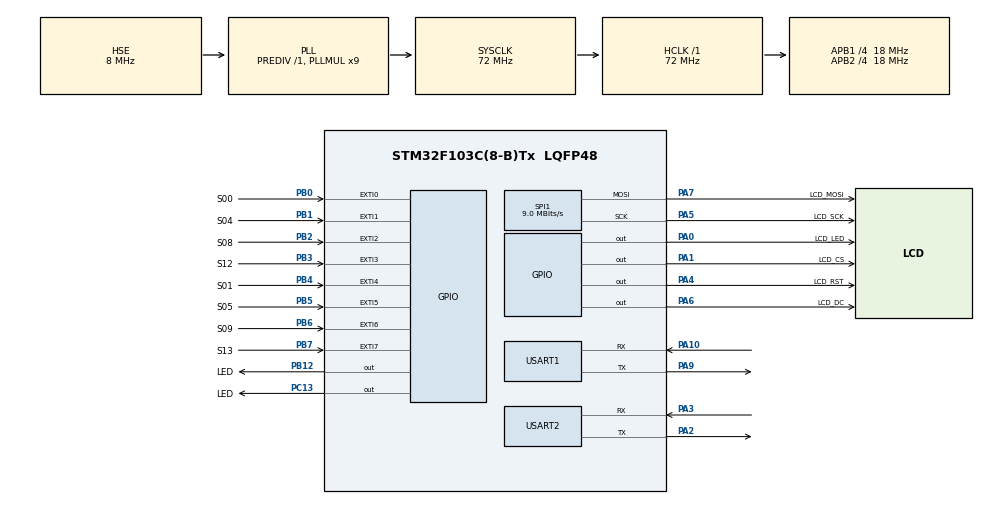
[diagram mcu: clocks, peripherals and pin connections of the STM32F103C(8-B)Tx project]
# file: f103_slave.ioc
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Dma.Request0=USART1_RX
Dma.Request1=USART2_RX
Dma.USART1_RX.0.Direction=DMA_PERIPH_TO_MEMORY
Dma.USART1_RX.0.Instance=DMA1_Channel5
Dma.USART1_RX.0.MemDataAlignment=DMA_MDATAALIGN_BYTE
Dma.USART1_RX.0.MemInc=DMA_MINC_ENABLE
Dma.USART1_RX.0.Mode=DMA_CIRCULAR
Dma.USART1_RX.0.PeriphDataAlignment=DMA_PDATAALIGN_BYTE
Dma.USART1_RX.0.PeriphInc=DMA_PINC_DISABLE
Dma.USART1_RX.0.Priority=DMA_PRIORITY_LOW
Dma.USART2_RX.1.Direction=DMA_PERIPH_TO_MEMORY
Dma.USART2_RX.1.Instance=DMA1_Channel6
Dma.USART2_RX.1.MemDataAlignment=DMA_MDATAALIGN_BYTE
Dma.USART2_RX.1.MemInc=DMA_MINC_ENABLE
Dma.USART2_RX.1.Mode=DMA_NORMAL
Dma.USART2_RX.1.PeriphDataAlignment=DMA_PDATAALIGN_BYTE
Dma.USART2_RX.1.PeriphInc=DMA_PINC_DISABLE
Dma.USART2_RX.1.Priority=DMA_PRIORITY_LOW
Mcu.Family=STM32F1
Mcu.Name=STM32F103C(8-B)Tx
Mcu.Package=LQFP48
NVIC.DMA1_Channel5_IRQn=true\:0\:0\:false\:false\:true\:false\:true\:true
NVIC.DMA1_Channel6_IRQn=true\:0\:0\:false\:false\:true\:false\:true\:true
NVIC.EXTI0_IRQn=true\:0\:0\:false\:false\:true\:true\:true\:true
NVIC.EXTI1_IRQn=true\:0\:0\:false\:false\:true\:true\:true\:true
NVIC.EXTI2_IRQn=true\:0\:0\:false\:false\:true\:true\:true\:true
NVIC.EXTI3_IRQn=true\:0\:0\:false\:false\:true\:true\:true\:true
NVIC.EXTI4_IRQn=true\:0\:0\:false\:false\:true\:true\:true\:true
NVIC.EXTI9_5_IRQn=true\:0\:0\:false\:false\:true\:true\:true\:true
NVIC.PriorityGroup=NVIC_PRIORITYGROUP_4
NVIC.TIM1_BRK_IRQn=true\:1\:0\:true\:false\:true\:true\:true\:true
NVIC.TIM1_UP_IRQn=true\:1\:0\:true\:false\:true\:true\:true\:true
NVIC.USART1_IRQn=true\:1\:0\:true\:false\:true\:true\:true\:true
NVIC.USART2_IRQn=true\:1\:0\:true\:false\:true\:true\:true\:true
PA0-WKUP.GPIO_Label=LCD_LED
PA0-WKUP.Signal=GPIO_Output
PA1.GPIO_Label=LCD_CS
PA1.Signal=GPIO_Output
PA10.Mode=Asynchronous
PA10.Signal=USART1_RX
PA13.Mode=Serial_Wire
PA13.Signal=SYS_JTMS-SWDIO
PA14.Mode=Serial_Wire
PA14.Signal=SYS_JTCK-SWCLK
PA2.Mode=Asynchronous
PA2.Signal=USART2_TX
PA3.Mode=Asynchronous
PA3.Signal=USART2_RX
PA4.GPIO_Label=LCD_RST
PA4.Signal=GPIO_Output
PA5.GPIO_Label=LCD_SCK
PA5.Mode=TX_Only_Simplex_Unidirect_Master
PA5.Signal=SPI1_SCK
PA6.GPIO_Label=LCD_DC
PA6.Signal=GPIO_Output
PA7.GPIO_Label=LCD_MOSI
PA7.Mode=TX_Only_Simplex_Unidirect_Master
PA7.Signal=SPI1_MOSI
PA9.Mode=Asynchronous
PA9.Signal=USART1_TX
PB0.GPIO_Label=S00
PB0.Signal=GPXTI0
PB1.GPIO_Label=S04
PB1.Signal=GPXTI1
PB12.GPIO_Label=LED
PB12.Signal=GPIO_Output
PB2.GPIO_Label=S08
PB2.Signal=GPXTI2
PB3.GPIO_Label=S12
PB3.Signal=GPXTI3
PB4.GPIO_Label=S01
PB4.Signal=GPXTI4
PB5.GPIO_Label=S05
PB5.GPIO_ModeDefaultEXTI=GPIO_MODE_IT_FALLING
PB5.Signal=GPXTI5
PB6.GPIO_Label=S09
PB6.Signal=GPXTI6
PB7.GPIO_Label=S13
PB7.Signal=GPXTI7
PC13-TAMPER-RTC.GPIO_Label=LED
PC13-TAMPER-RTC.Signal=GPIO_Output
PC14-OSC32_IN.Mode=LSE-External-Oscillator
PC14-OSC32_IN.Signal=RCC_OSC32_IN
PC15-OSC32_OUT.Mode=LSE-External-Oscillator
PC15-OSC32_OUT.Signal=RCC_OSC32_OUT
PD0-OSC_IN.Mode=HSE-External-Oscillator
PD0-OSC_IN.Signal=RCC_OSC_IN
PD1-OSC_OUT.Mode=HSE-External-Oscillator
PD1-OSC_OUT.Signal=RCC_OSC_OUT
ProjectManager.HeapSize=0x200
ProjectManager.StackSize=0x400
ProjectManager.TargetToolchain=STM32CubeIDE
RCC.AHBFreq_Value=72000000
RCC.APB1CLKDivider=RCC_HCLK_DIV4
RCC.APB1Freq_Value=18000000
RCC.APB1TimFreq_Value=36000000
RCC.APB2CLKDivider=RCC_HCLK_DIV4
RCC.APB2Freq_Value=18000000
RCC.APB2TimFreq_Value=36000000
RCC.HCLKFreq_Value=72000000
RCC.PLLMUL=RCC_PLL_MUL9
RCC.PLLSourceVirtual=RCC_PLLSOURCE_HSE
RCC.SYSCLKFreq_VALUE=72000000
RCC.SYSCLKSource=RCC_SYSCLKSOURCE_PLLCLK
RCC.USBFreq_Value=72000000
SPI1.BaudRatePrescaler=SPI_BAUDRATEPRESCALER_2
SPI1.CalculateBaudRate=9.0 MBits/s
SPI1.Direction=SPI_DIRECTION_2LINES
SPI1.Mode=SPI_MODE_MASTER
SPI1.VirtualType=VM_MASTER
TIM1.AutoReloadPreload=TIM_AUTORELOAD_PRELOAD_ENABLE
TIM1.Period=50000-1
TIM1.Prescaler=35
USART1.VirtualMode=VM_ASYNC
USART2.VirtualMode=VM_ASYNC
VP_TIM1_VS_ClockSourceINT.Mode=Internal
board=custom

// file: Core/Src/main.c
/* USER CODE BEGIN Header */
/**
  ******************************************************************************
  * @file           : main.c
  * @brief          : Main program body
  ******************************************************************************
  * @attention
  *
  * Copyright (c) 2023 STMicroelectronics.
  * All rights reserved.
  *
  * This software is licensed under terms that can be found in the LICENSE file
  * in the root directory of this software component.
  * If no LICENSE file comes with this software, it is provided AS-IS.
  *
  ******************************************************************************
  */
/* USER CODE END Header */
#include "main.h"

/* USER CODE BEGIN Includes */
#include "ILI9341_STM32_Driver.h"
#include "ILI9341_GFX.h"

#include "fonts.h"
#include "utility.h"

#include <stdio.h>
/* USER CODE END Includes */

/* USER CODE BEGIN PTD */

//esc sensor data type define, real voltage = voltage/10.0, real current = current / 10.0
typedef struct{
	int16_t throttle;
	uint16_t temperature;
	uint32_t rpm;
	uint16_t voltage;
	uint16_t current;
} ESC_SensorTypeDef;

/* USER CODE END PTD */

/* USER CODE BEGIN PD */
#define SPEED_BUFFER_SIZE 16
#define SPEED_PIN_COUNT 8
#define SPEED_MAX_INCREMENT 2
#define ESC_DATA_SIZE 32
#define RX_BUFFER_SIZE 16
/* USER CODE END PD */

SPI_HandleTypeDef hspi1;

TIM_HandleTypeDef htim1;

UART_HandleTypeDef huart1;
UART_HandleTypeDef huart2;
DMA_HandleTypeDef hdma_usart1_rx;
DMA_HandleTypeDef hdma_usart2_rx;

/* USER CODE BEGIN PV */
//fonts
FontDef Font_5x5 = {5,5,95*5,Font5x5};
FontDef Font_7x10 = {7,10,95*10,Font7x10};
FontDef Font_11x18 = {11,18,95*18,Font11x18};
FontDef Font_16x26 = {16,26,95*26,Font16x26};

/*
"ACSR" + WHEEL ROTATING DIRECTION + SPEED_DATA + ESC_RECEIVE_LABEL + ESC_DATA
WHEEL ROTATING DIRECTION: 0 -- forward, 1 -- backward
SPEED_DATA:  containing SPEED_PIN_COUNT sets data, each data has two bytes
	1st byte -- the integer part of speed in Hz
	2nd byte -- the decimal part of speed in Hz
ESC_RECEIVE_LABEL : 0 -- no data, non-zeor -- has data
*/
uint8_t send_data[4 + 4 + SPEED_PIN_COUNT*2 + 1 + sizeof(ESC_SensorTypeDef)];

//Speed tracking buffers
uint8_t pulse_pointer[SPEED_PIN_COUNT]={0};
uint8_t increment_count[SPEED_PIN_COUNT]={0};
uint32_t pulse[SPEED_PIN_COUNT][SPEED_BUFFER_SIZE];

//esc data
uint8_t esc_receive[ESC_DATA_SIZE];
ESC_SensorTypeDef esc_sensor;
uint8_t esc_index=0;

// UART receive
uint8_t rx[RX_BUFFER_SIZE];
uint8_t rx_index = 0;
/* USER CODE END PV */

void SystemClock_Config(void);
static void MX_GPIO_Init(void);
static void MX_DMA_Init(void);
static void MX_SPI1_Init(void);
static void MX_USART1_UART_Init(void);
static void MX_TIM1_Init(void);
static void MX_USART2_UART_Init(void);

/* USER CODE BEGIN 0 */

HAL_StatusTypeDef read_ble_data(uint8_t* data){
	static uint8_t start_index = 0;
	for(uint8_t i=start_index;i<start_index+ESC_DATA_SIZE;++i){
		if(data[i]==0xFE && data[(i+1)%ESC_DATA_SIZE]==0x01){
			start_index = i%ESC_DATA_SIZE;
			break;
		}
	}

	if(data[(2+start_index)%ESC_DATA_SIZE]!=0x00)return HAL_ERROR;
	if(data[(3+start_index)%ESC_DATA_SIZE]!=0x03)return HAL_ERROR;
	if(data[(4+start_index)%ESC_DATA_SIZE]!=0x30)return HAL_ERROR;
	if(data[(5+start_index)%ESC_DATA_SIZE]!=0x5c)return HAL_ERROR;
	if(data[(6+start_index)%ESC_DATA_SIZE]!=0x17)return HAL_ERROR;
	if(data[(7+start_index)%ESC_DATA_SIZE]!=0x06)return HAL_ERROR;

	esc_sensor.throttle = (int16_t)(data[(9+start_index)%ESC_DATA_SIZE]);
	if(data[(11+start_index)%ESC_DATA_SIZE]!=0x01)esc_sensor.throttle=-esc_sensor.throttle;

	esc_sensor.rpm = ((uint32_t)(data[(14+start_index)%ESC_DATA_SIZE] <<8) | (data[(13+start_index)%ESC_DATA_SIZE]))*10;
	esc_sensor.voltage = (uint16_t)(data[(15+start_index)%ESC_DATA_SIZE]);
	esc_sensor.current = ((uint16_t)(data[(16+start_index)%ESC_DATA_SIZE] <<8) | (data[(17+start_index)%ESC_DATA_SIZE]));
	esc_sensor.temperature = (uint16_t)(data[(18+start_index)%ESC_DATA_SIZE] <<8) | (data[(19+start_index)%ESC_DATA_SIZE]);

	esc_index = 0;
	memcpy(&send_data[SPEED_PIN_COUNT*2+9],&esc_sensor,sizeof(ESC_SensorTypeDef));

	return HAL_OK;
}

void HAL_UART_RxCpltCallback(UART_HandleTypeDef *huart){
	if(huart->Instance==huart1.Instance){
		read_ble_data(esc_receive);
	}else if(huart->Instance==huart2.Instance){
		if(rx[(rx_index+RX_BUFFER_SIZE)%RX_BUFFER_SIZE]=='t'
				&& rx[(rx_index+RX_BUFFER_SIZE-1)%RX_BUFFER_SIZE]=='e'
				&& rx[(rx_index+RX_BUFFER_SIZE-2)%RX_BUFFER_SIZE]=='s'
				&& rx[(rx_index+RX_BUFFER_SIZE-3)%RX_BUFFER_SIZE]=='e'
				&& rx[(rx_index+RX_BUFFER_SIZE-3)%RX_BUFFER_SIZE]=='r'){
			NVIC_SystemReset();
		}

		rx_index=(rx_index+1)%RX_BUFFER_SIZE;
		HAL_UART_Receive_DMA(&huart2, &rx[rx_index], 1);
	}
}

void HAL_UART_ErrorCallback(UART_HandleTypeDef *huart) {
    if(huart->Instance==huart1.Instance) {
    	HAL_UART_Receive_DMA(&huart1, esc_receive, ESC_DATA_SIZE);
    }else if(huart->Instance==huart2.Instance){
    	HAL_UART_Receive_DMA(&huart2, rx, 1);
    }
}

void HAL_GPIO_EXTI_Callback(uint16_t GPIO_Pin){

	uint8_t index;
	switch(GPIO_Pin){
	case S00_Pin:
		index = 0;
		break;
	case S01_Pin:
		index=1;
		break;
	case S04_Pin:
		index = 2;
		break;
	case S05_Pin:
		index = 3;
		break;
	case S08_Pin:
		index = 4;
		break;
	case S09_Pin:
		index = 5;
		break;
	case S12_Pin:
		index = 6;
		break;
	case S13_Pin:
		index = 7;
		break;
	}
	pulse[index][pulse_pointer[index]]=micros();
	++pulse_pointer[index];
	pulse_pointer[index]%=SPEED_BUFFER_SIZE;
	increment_count[index]=0;
}

void calcVelocity(){

	for(uint8_t i=0;i<SPEED_PIN_COUNT;++i){
		if(increment_count[i]>=SPEED_MAX_INCREMENT){
			send_data[2*i+8]=0;
			send_data[2*i+9]=0;
			continue;
		}
		uint32_t s=pulse[i][(pulse_pointer[i]+SPEED_BUFFER_SIZE-1)%SPEED_BUFFER_SIZE]-pulse[i][pulse_pointer[i]];
		if(s==0){
			send_data[2*i+8]=0;
			send_data[2*i+9]=0;
		}
		else{
			float speed = (SPEED_BUFFER_SIZE-1)*1000000.0/s;
			uint8_t speed_int = (uint8_t)speed;
			uint8_t speed_decimal = (uint8_t)((speed-speed_int)*100.0);
			send_data[2*i+8]=speed_int;
			send_data[2*i+9]=speed_decimal;
		}
	}

	/*
	 * need work
	 * label the rotating direction
	 */
	for(uint8_t i=0;i<4;++i){
		send_data[4+i]=0;
	}
}

void HAL_TIM_PeriodElapsedCallback(TIM_HandleTypeDef *htim){
	calcVelocity();
	if(esc_index++>9){
		send_data[SPEED_PIN_COUNT*2+8]=1;
		esc_index=10;
	}else{
		send_data[SPEED_PIN_COUNT*2+8]=0;
	}
	HAL_UART_Transmit(&huart2, send_data, SPEED_PIN_COUNT*2+9+sizeof(ESC_SensorTypeDef),10);

}

/* USER CODE END 0 */

int main(void)
{

  /* MCU Configuration--------------------------------------------------------*/

  /* Reset of all peripherals, Initializes the Flash interface and the Systick. */
  HAL_Init();

  /* Configure the system clock */
  SystemClock_Config();

  /* Initialize all configured peripherals */
  MX_GPIO_Init();
  MX_DMA_Init();
  MX_SPI1_Init();
  MX_USART1_UART_Init();
  MX_TIM1_Init();
  MX_USART2_UART_Init();
  /* USER CODE BEGIN 2 */
  //speed_on_single_pin[0]=acsr;
  send_data[0]='A';
  send_data[1]='C';
  send_data[2]='S';
  send_data[3]='R';

  HAL_GPIO_WritePin(LED_GPIO_Port, LED_Pin, GPIO_PIN_SET);
  HAL_GPIO_WritePin(LCD_LED_GPIO_Port, LCD_LED_Pin, GPIO_PIN_SET);
  DWT_Init();
  ILI9341_Init();
  ILI9341_Fill_Screen(WHITE);
  ILI9341_Set_Rotation(SCREEN_HORIZONTAL_2);
  ILI9341_Write_Text("FPS TEST, 40 loop 2 screens", 10, 10, &Font_11x18, BLACK, WHITE);
  HAL_TIM_Base_Start_IT(&htim1);
  HAL_UART_Receive_DMA(&huart1, esc_receive, ESC_DATA_SIZE);
  HAL_UART_Receive_DMA(&huart2, rx, 1);

  for(int i=0;i<10;++i){
	  HAL_GPIO_TogglePin(LED_GPIO_Port, LED_Pin);
	  HAL_Delay(200);
  }
  /* USER CODE END 2 */

  /* Infinite loop */
  /* USER CODE BEGIN WHILE */
  uint32_t t = millis();
  while (1)
  {
	for(uint8_t i=0;i<SPEED_PIN_COUNT;++i){
		increment_count[i]++;
	}
    HAL_GPIO_TogglePin(LED_GPIO_Port, LED_Pin);

    uint32_t h = millis();
    while(h-t<500){
    	h = millis();
    	HAL_Delay(1);
    }
    t = h;
    /* USER CODE END WHILE */

  }
}

void SystemClock_Config(void)
{
  RCC_OscInitTypeDef RCC_OscInitStruct = {0};
  RCC_ClkInitTypeDef RCC_ClkInitStruct = {0};

  /** Initializes the RCC Oscillators according to the specified parameters
  * in the RCC_OscInitTypeDef structure.
  */
  RCC_OscInitStruct.OscillatorType = RCC_OSCILLATORTYPE_HSE;
  RCC_OscInitStruct.HSEState = RCC_HSE_ON;
  RCC_OscInitStruct.HSEPredivValue = RCC_HSE_PREDIV_DIV1;
  RCC_OscInitStruct.HSIState = RCC_HSI_ON;
  RCC_OscInitStruct.PLL.PLLState = RCC_PLL_ON;
  RCC_OscInitStruct.PLL.PLLSource = RCC_PLLSOURCE_HSE;
  RCC_OscInitStruct.PLL.PLLMUL = RCC_PLL_MUL9;
  if (HAL_RCC_OscConfig(&RCC_OscInitStruct) != HAL_OK)
  {
    Error_Handler();
  }

  /** Initializes the CPU, AHB and APB buses clocks
  */
  RCC_ClkInitStruct.ClockType = RCC_CLOCKTYPE_HCLK|RCC_CLOCKTYPE_SYSCLK
                              |RCC_CLOCKTYPE_PCLK1|RCC_CLOCKTYPE_PCLK2;
  RCC_ClkInitStruct.SYSCLKSource = RCC_SYSCLKSOURCE_PLLCLK;
  RCC_ClkInitStruct.AHBCLKDivider = RCC_SYSCLK_DIV1;
  RCC_ClkInitStruct.APB1CLKDivider = RCC_HCLK_DIV4;
  RCC_ClkInitStruct.APB2CLKDivider = RCC_HCLK_DIV4;

  if (HAL_RCC_ClockConfig(&RCC_ClkInitStruct, FLASH_LATENCY_2) != HAL_OK)
  {
    Error_Handler();
  }
}

static void MX_SPI1_Init(void)
{

  /* SPI1 parameter configuration*/
  hspi1.Instance = SPI1;
  hspi1.Init.Mode = SPI_MODE_MASTER;
  hspi1.Init.Direction = SPI_DIRECTION_2LINES;
  hspi1.Init.DataSize = SPI_DATASIZE_8BIT;
  hspi1.Init.CLKPolarity = SPI_POLARITY_LOW;
  hspi1.Init.CLKPhase = SPI_PHASE_1EDGE;
  hspi1.Init.NSS = SPI_NSS_SOFT;
  hspi1.Init.BaudRatePrescaler = SPI_BAUDRATEPRESCALER_2;
  hspi1.Init.FirstBit = SPI_FIRSTBIT_MSB;
  hspi1.Init.TIMode = SPI_TIMODE_DISABLE;
  hspi1.Init.CRCCalculation = SPI_CRCCALCULATION_DISABLE;
  hspi1.Init.CRCPolynomial = 10;
  if (HAL_SPI_Init(&hspi1) != HAL_OK)
  {
    Error_Handler();
  }

}

static void MX_TIM1_Init(void)
{

  TIM_ClockConfigTypeDef sClockSourceConfig = {0};
  TIM_MasterConfigTypeDef sMasterConfig = {0};

  htim1.Instance = TIM1;
  htim1.Init.Prescaler = 35;
  htim1.Init.CounterMode = TIM_COUNTERMODE_UP;
  htim1.Init.Period = 50000-1;
  htim1.Init.ClockDivision = TIM_CLOCKDIVISION_DIV1;
  htim1.Init.RepetitionCounter = 0;
  htim1.Init.AutoReloadPreload = TIM_AUTORELOAD_PRELOAD_ENABLE;
  if (HAL_TIM_Base_Init(&htim1) != HAL_OK)
  {
    Error_Handler();
  }
  sClockSourceConfig.ClockSource = TIM_CLOCKSOURCE_INTERNAL;
  if (HAL_TIM_ConfigClockSource(&htim1, &sClockSourceConfig) != HAL_OK)
  {
    Error_Handler();
  }
  sMasterConfig.MasterOutputTrigger = TIM_TRGO_RESET;
  sMasterConfig.MasterSlaveMode = TIM_MASTERSLAVEMODE_DISABLE;
  if (HAL_TIMEx_MasterConfigSynchronization(&htim1, &sMasterConfig) != HAL_OK)
  {
    Error_Handler();
  }

}

static void MX_USART1_UART_Init(void)
{

  huart1.Instance = USART1;
  huart1.Init.BaudRate = 115200;
  huart1.Init.WordLength = UART_WORDLENGTH_8B;
  huart1.Init.StopBits = UART_STOPBITS_1;
  huart1.Init.Parity = UART_PARITY_NONE;
  huart1.Init.Mode = UART_MODE_TX_RX;
  huart1.Init.HwFlowCtl = UART_HWCONTROL_NONE;
  huart1.Init.OverSampling = UART_OVERSAMPLING_16;
  if (HAL_UART_Init(&huart1) != HAL_OK)
  {
    Error_Handler();
  }

}

static void MX_USART2_UART_Init(void)
{

  huart2.Instance = USART2;
  huart2.Init.BaudRate = 115200;
  huart2.Init.WordLength = UART_WORDLENGTH_8B;
  huart2.Init.StopBits = UART_STOPBITS_1;
  huart2.Init.Parity = UART_PARITY_NONE;
  huart2.Init.Mode = UART_MODE_TX_RX;
  huart2.Init.HwFlowCtl = UART_HWCONTROL_NONE;
  huart2.Init.OverSampling = UART_OVERSAMPLING_16;
  if (HAL_UART_Init(&huart2) != HAL_OK)
  {
    Error_Handler();
  }

}

static void MX_DMA_Init(void)
{

  /* DMA controller clock enable */
  __HAL_RCC_DMA1_CLK_ENABLE();

  /* DMA interrupt init */
  /* DMA1_Channel5_IRQn interrupt configuration */
  HAL_NVIC_SetPriority(DMA1_Channel5_IRQn, 0, 0);
  HAL_NVIC_EnableIRQ(DMA1_Channel5_IRQn);
  /* DMA1_Channel6_IRQn interrupt configuration */
  HAL_NVIC_SetPriority(DMA1_Channel6_IRQn, 0, 0);
  HAL_NVIC_EnableIRQ(DMA1_Channel6_IRQn);

}

static void MX_GPIO_Init(void)
{
  GPIO_InitTypeDef GPIO_InitStruct = {0};

  /* GPIO Ports Clock Enable */
  __HAL_RCC_GPIOC_CLK_ENABLE();
  __HAL_RCC_GPIOD_CLK_ENABLE();
  __HAL_RCC_GPIOA_CLK_ENABLE();
  __HAL_RCC_GPIOB_CLK_ENABLE();

  /*Configure GPIO pin Output Level */
  HAL_GPIO_WritePin(LED_GPIO_Port, LED_Pin, GPIO_PIN_RESET);

  /*Configure GPIO pin Output Level */
  HAL_GPIO_WritePin(GPIOA, LCD_LED_Pin|LCD_CS_Pin|LCD_RST_Pin|LCD_DC_Pin, GPIO_PIN_RESET);

  /*Configure GPIO pin Output Level */
  HAL_GPIO_WritePin(LEDB12_GPIO_Port, LEDB12_Pin, GPIO_PIN_RESET);

  /*Configure GPIO pin : LED_Pin */
  GPIO_InitStruct.Pin = LED_Pin;
  GPIO_InitStruct.Mode = GPIO_MODE_OUTPUT_PP;
  GPIO_InitStruct.Pull = GPIO_NOPULL;
  GPIO_InitStruct.Speed = GPIO_SPEED_FREQ_LOW;
  HAL_GPIO_Init(LED_GPIO_Port, &GPIO_InitStruct);

  /*Configure GPIO pins : LCD_LED_Pin LCD_CS_Pin LCD_RST_Pin LCD_DC_Pin */
  GPIO_InitStruct.Pin = LCD_LED_Pin|LCD_CS_Pin|LCD_RST_Pin|LCD_DC_Pin;
  GPIO_InitStruct.Mode = GPIO_MODE_OUTPUT_PP;
  GPIO_InitStruct.Pull = GPIO_NOPULL;
  GPIO_InitStruct.Speed = GPIO_SPEED_FREQ_LOW;
  HAL_GPIO_Init(GPIOA, &GPIO_InitStruct);

  /*Configure GPIO pins : S00_Pin S04_Pin S08_Pin S12_Pin
                           S01_Pin S09_Pin S13_Pin */
  GPIO_InitStruct.Pin = S00_Pin|S04_Pin|S08_Pin|S12_Pin
                          |S01_Pin|S09_Pin|S13_Pin;
  GPIO_InitStruct.Mode = GPIO_MODE_IT_RISING;
  GPIO_InitStruct.Pull = GPIO_NOPULL;
  HAL_GPIO_Init(GPIOB, &GPIO_InitStruct);

  /*Configure GPIO pin : LEDB12_Pin */
  GPIO_InitStruct.Pin = LEDB12_Pin;
  GPIO_InitStruct.Mode = GPIO_MODE_OUTPUT_PP;
  GPIO_InitStruct.Pull = GPIO_NOPULL;
  GPIO_InitStruct.Speed = GPIO_SPEED_FREQ_LOW;
  HAL_GPIO_Init(LEDB12_GPIO_Port, &GPIO_InitStruct);

  /*Configure GPIO pin : S05_Pin */
  GPIO_InitStruct.Pin = S05_Pin;
  GPIO_InitStruct.Mode = GPIO_MODE_IT_FALLING;
  GPIO_InitStruct.Pull = GPIO_NOPULL;
  HAL_GPIO_Init(S05_GPIO_Port, &GPIO_InitStruct);

  /* EXTI interrupt init*/
  HAL_NVIC_SetPriority(EXTI0_IRQn, 0, 0);
  HAL_NVIC_EnableIRQ(EXTI0_IRQn);

  HAL_NVIC_SetPriority(EXTI1_IRQn, 0, 0);
  HAL_NVIC_EnableIRQ(EXTI1_IRQn);

  HAL_NVIC_SetPriority(EXTI2_IRQn, 0, 0);
  HAL_NVIC_EnableIRQ(EXTI2_IRQn);

  HAL_NVIC_SetPriority(EXTI3_IRQn, 0, 0);
  HAL_NVIC_EnableIRQ(EXTI3_IRQn);

  HAL_NVIC_SetPriority(EXTI4_IRQn, 0, 0);
  HAL_NVIC_EnableIRQ(EXTI4_IRQn);

  HAL_NVIC_SetPriority(EXTI9_5_IRQn, 0, 0);
  HAL_NVIC_EnableIRQ(EXTI9_5_IRQn);

}

void Error_Handler(void)
{
  __disable_irq();
  while (1)
  {
  }
}
